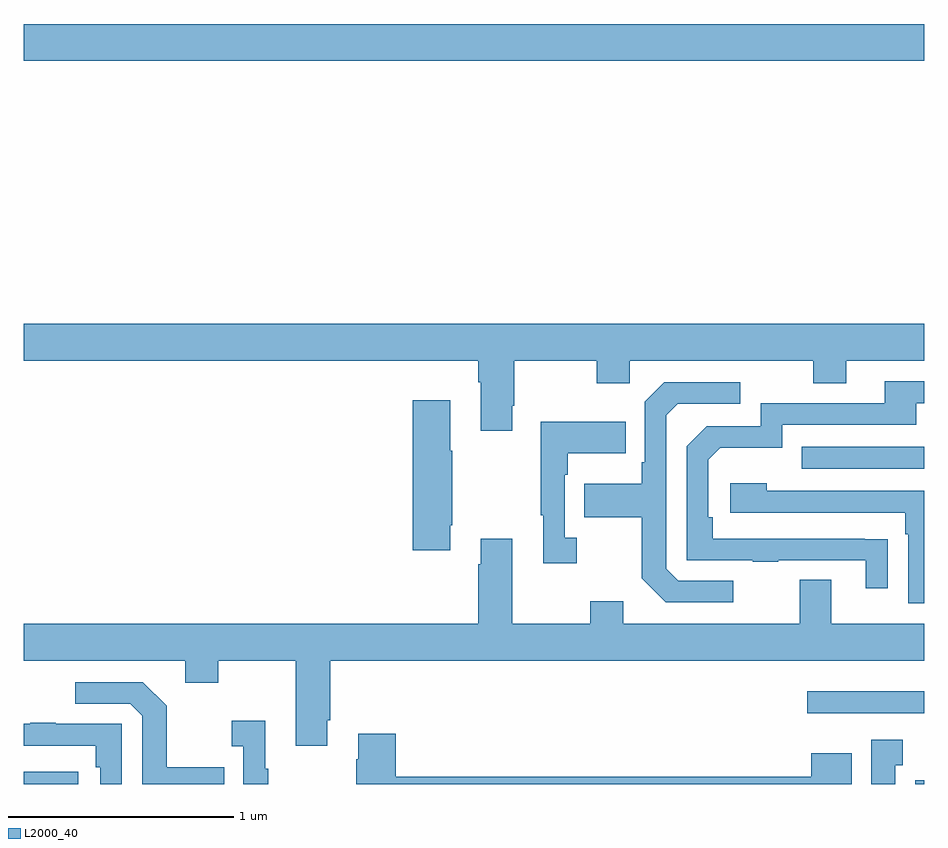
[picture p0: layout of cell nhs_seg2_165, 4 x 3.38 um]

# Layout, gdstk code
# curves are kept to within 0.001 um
import gdstk
lib = gdstk.Library(unit=1e-6, precision=1e-09)
def R(c, l, rs):  # rectangles x0, y0, x1, y1
    for r in rs: c.add(gdstk.rectangle(r[:2], r[2:], *l))
def P(c, l, *ps):  # polygons
    for p in ps: c.add(gdstk.Polygon(p, *l))
L2000_40 = (2000, 40)

nhs_seg2_165 = lib.new_cell('nhs_seg2_165')
R(nhs_seg2_165, L2000_40, [(119,601.8,119.242,601.854), (122.96,601.8,123,601.816), (122.481,602.115,123,602.212), (122.455,603.201,123,603.297), (119,605.012,123,605.176)])
P(nhs_seg2_165, L2000_40, [(121.171,603.481),(121.179,603.481),(121.179,603.68),(121.546,603.68),(121.546,603.581),(121.692,603.581),(121.692,603.68),(122.506,603.68),(122.506,603.581),(122.653,603.581),(122.653,603.68),(123,603.68),(123,603.844),(119,603.844),(119,603.68),(121.019,603.68),(121.019,603.584),(121.031,603.584),(121.031,603.369),(121.171,603.369)],
  [(122.837,602.888),(122.06,602.889),(122.06,602.986),(122.04,602.986),(122.04,603.24),(122.093,603.293),(122.37,603.293),(122.37,603.396),(122.965,603.396),(122.965,603.492),(123,603.492),(123,603.588),(122.825,603.588),(122.825,603.492),(122.274,603.492),(122.274,603.39),(122.034,603.39),(121.944,603.3),(121.944,602.793),(122.239,602.793),(122.239,602.788),(122.351,602.788),(122.351,602.793),(122.741,602.793),(122.741,602.67),(122.837,602.67)],
  [(122.152,602.703),(121.908,602.703),(121.854,602.757),(121.854,603.438),(121.905,603.489),(122.182,603.489),(122.182,603.585),(121.845,603.585),(121.758,603.498),(121.758,603.229),(121.746,603.229),(121.746,603.133),(121.489,603.133),(121.489,602.986),(121.746,602.986),(121.746,602.713),(121.851,602.607),(122.152,602.607)],
  [(120.895,602.95),(120.903,602.95),(120.903,603.281),(120.895,603.281),(120.895,603.505),(120.728,603.505),(120.728,602.838),(120.895,602.838)],
  [(121.456,602.894),(121.404,602.894),(121.404,603.173),(121.417,603.173),(121.417,603.269),(121.673,603.269),(121.673,603.409),(121.296,603.409),(121.296,602.993),(121.307,602.993),(121.307,602.781),(121.456,602.781)],
  [(123,603.102),(122.3,603.102),(122.3,603.136),(122.139,603.136),(122.139,603.006),(122.915,603.006),(122.915,602.909),(122.928,602.909),(122.928,602.604),(123,602.604)],
  [(120.349,602.083),(120.362,602.083),(120.362,602.348),(123,602.348),(123,602.512),(122.587,602.512),(122.587,602.707),(122.447,602.707),(122.447,602.512),(121.663,602.512),(121.663,602.611),(121.516,602.611),(121.516,602.512),(121.171,602.512),(121.171,602.89),(121.031,602.89),(121.031,602.777),(121.019,602.777),(121.019,602.512),(119,602.512),(119,602.348),(119.717,602.348),(119.717,602.249),(119.865,602.249),(119.865,602.348),(120.209,602.348),(120.209,601.971),(120.349,601.971)],
  [(119.891,601.875),(119.635,601.875),(119.635,602.147),(119.529,602.253),(119.229,602.253),(119.229,602.157),(119.472,602.157),(119.526,602.103),(119.526,601.8),(119.891,601.8)],
  [(120.085,601.867),(120.073,601.867),(120.073,602.08),(119.925,602.08),(119.925,601.967),(119.976,601.967),(119.976,601.8),(120.085,601.8)],
  [(119.436,602.067),(119.141,602.067),(119.141,602.072),(119.029,602.072),(119.029,602.067),(119,602.067),(119,601.971),(119.32,601.971),(119.32,601.874),(119.34,601.874),(119.34,601.8),(119.436,601.8)],
  [(122.677,601.936),(122.498,601.936),(122.498,601.832),(120.653,601.832),(120.653,602.023),(120.485,602.023),(120.485,601.91),(120.478,601.91),(120.478,601.8),(122.677,601.8)],
  [(122.872,601.883),(122.905,601.883),(122.905,601.996),(122.765,601.996),(122.765,601.8),(122.872,601.8)])

lib.write_gds('nhs_seg2_165.gds')
